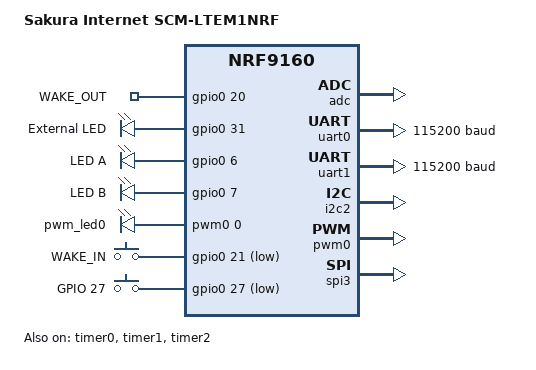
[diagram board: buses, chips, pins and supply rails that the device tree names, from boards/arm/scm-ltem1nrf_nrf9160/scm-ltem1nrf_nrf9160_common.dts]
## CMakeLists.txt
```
#
# Copyright (c) 2020 Nordic Semiconductor
#
# SPDX-License-Identifier: LicenseRef-BSD-5-Clause-Nordic
#

cmake_minimum_required(VERSION 3.13.1)

set(BOARD_ROOT ${CMAKE_SOURCE_DIR})
set(ZEPHYR_EXTRA_MODULES 
    ${CMAKE_SOURCE_DIR}/lib/sipf
)

find_package(Zephyr REQUIRED HINTS $ENV{ZEPHYR_BASE})
project(sipf_lib_sample_app_rx)

target_sources(app PRIVATE
    src/main.c
    src/uart_broker.c
)

target_include_directories(app PRIVATE
    include/
)

if(SIPF_ENVIRONMENT STREQUAL "production")
    message("Set -Werror")
    zephyr_library_compile_options("-Werror")
endif()
if(SIPF_ENVIRONMENT STREQUAL "staging")
    message("Set -Werror")
    zephyr_library_compile_options("-Werror")
endif()
```

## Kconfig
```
#
# Copyright (c) 2021 SAKURA internet Inc.
#
# SPDX-License-Identifier: MIT
#

menu "Zephyr Kernel"
source "Kconfig.zephyr"
endmenu
```

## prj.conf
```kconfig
CONFIG_NEWLIB_LIBC=y
CONFIG_NEWLIB_LIBC_FLOAT_PRINTF=y

CONFIG_NETWORKING=y
CONFIG_NET_SOCKETS=y
CONFIG_NET_SOCKETS_POSIX_NAMES=y
CONFIG_NET_NATIVE=n

CONFIG_HEAP_MEM_POOL_SIZE=4096
CONFIG_MAIN_STACK_SIZE=8192

# Modem
CONFIG_MODEM_KEY_MGMT=y
CONFIG_PDN=y
CONFIG_NRF_MODEM_LIB=y
CONFIG_NRF_MODEM_LIB_SYS_INIT=n

# Modem Info
CONFIG_MODEM_INFO=y

# LTE Link Controll
CONFIG_LTE_LINK_CONTROL=y
CONFIG_LTE_AUTO_INIT_AND_CONNECT=n
CONFIG_LTE_NETWORK_TIMEOUT=60
CONFIG_LTE_NETWORK_USE_FALLBACK=y
CONFIG_LTE_NETWORK_DEFAULT=y
CONFIG_LTE_LOCK_PLMN=y
CONFIG_LTE_LOCK_PLMN_STRING="44020"

# UART
CONFIG_CONSOLE=y
CONFIG_UART_CONSOLE=y
CONFIG_UART_INTERRUPT_DRIVEN=y

# GPIO
CONFIG_GPIO=y

# Reboot
CONFIG_REBOOT=y

# Download client
CONFIG_DOWNLOAD_CLIENT=y
CONFIG_DOWNLOAD_CLIENT_STACK_SIZE=4096
CONFIG_DOWNLOAD_CLIENT_MAX_HOSTNAME_SIZE=255

# HTTP
CONFIG_HTTP_CLIENT=y
CONFIG_BASE64=y

# Logging
CONFIG_LOG=y
CONFIG_LOG_RUNTIME_FILTERING=y
CONFIG_LOG_BUFFER_SIZE=2048
CONFIG_LOG_PRINTK=y
CONFIG_LOG_PROCESS_TRIGGER_THRESHOLD=0
CONFIG_LOG_BACKEND_UART=n
CONFIG_LOG_BACKEND_RTT=y
CONFIG_USE_SEGGER_RTT=y

## SIPF standard client ## 
CONFIG_SIPF=y

## Application Log Levels
CONFIG_SIPF_LOG_LEVEL_DBG=y
#CONFIG_SIPF_LOG_LEVEL_INF=y
#CONFIG_SIPF_LOG_LEVEL_ERR=y
```

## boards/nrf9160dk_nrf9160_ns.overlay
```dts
/ {
	aliases {
		led-boot = &led0;
		led-state = &led1;
		led-out1 = &led2;
		led-out2 = &led3;

		btn-recv = &button0;
	};
};
```

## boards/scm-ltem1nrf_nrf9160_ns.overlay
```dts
/ {
	aliases {
		led-boot = &led2;
		led-state = &led3;
		led-out1 = &led1;
		led-out2 = &led1;

		btn-recv = &button0;
	};
};
```

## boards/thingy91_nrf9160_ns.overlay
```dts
/ {
	aliases {
		led-boot = &sense_blue_led;
		led-state = &sense_green_led;
		led-out1 = &red_led;
		led-out2 = &blue_led;

		btn-recv = &button0;
	};
};
```

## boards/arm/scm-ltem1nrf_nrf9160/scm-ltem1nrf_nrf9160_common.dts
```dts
/*
 * Copyright (c) 2018-2020 Nordic Semiconductor ASA
 *
 * SPDX-License-Identifier: Apache-2.0
 */
#include "scm-ltem1nrf_nrf9160_common-pinctrl.dtsi"

/ {
	model = "Sakura Internet SCM-LTEM1NRF";
	compatible = "nordic,nrf9160-dk-nrf9160";

	chosen {
		zephyr,console = &uart0;
		zephyr,shell-uart = &uart0;
		zephyr,uart-mcumgr = &uart0;
	};

	leds {
		compatible = "gpio-leds";
		led0: led_0 {
			gpios = <&gpio0 20 0>;
			label = "WAKE_OUT";
		};
		led1: led_1 {
			gpios = <&gpio0 31 0>;
			label = "External LED";
		};
		led2: led_2 {
			gpios = <&gpio0 6 0>;
			label = "LED A";
		};
		led3: led_3 {
			gpios = <&gpio0 7 0>;
			label = "LED B";
		};
	};

	pwmleds {
		compatible = "pwm-leds";
		pwm_led0: pwm_led_0 {
			pwms = <&pwm0 0 PWM_MSEC(20) PWM_POLARITY_NORMAL>;
		};
	};

	buttons {
		compatible = "gpio-keys";
		button0: button_0 {
			gpios = <&gpio0 21 (GPIO_PULL_UP | GPIO_ACTIVE_LOW)>;
			label = "WAKE_IN";
		};
		button1: button_1 {
			gpios = <&gpio0 27 (GPIO_PULL_UP | GPIO_ACTIVE_LOW)>;
			label = "GPIO 27";
		};
	};

	/* These aliases are provided for compatibility with samples */
	aliases {
		led0 = &led0;
		led1 = &led1;
		led2 = &led2;
		led3 = &led3;
		pwm-led0 = &pwm_led0;
		sw0 = &button0;
		sw1 = &button1;
		bootloader-led0 = &led0;
		mcuboot-button0 = &button0;
		mcuboot-led0 = &led2;
		watchdog0 = &wdt0;
	};
};

&adc {
	status = "okay";
};

&gpiote {
	status = "okay";
};

&gpio0 {
	status = "okay";
};

&uart0 {
	status = "okay";
	current-speed = <115200>;
	pinctrl-0 = <&uart0_default>;
	pinctrl-1 = <&uart0_sleep>;
	pinctrl-names = "default", "sleep";
};

&uart1 {
	status = "okay";
	current-speed = <115200>;
	pinctrl-0 = <&uart1_default>;
	pinctrl-1 = <&uart1_sleep>;
	pinctrl-names = "default", "sleep";
};

&i2c2 {
	compatible = "nordic,nrf-twim";
	status = "okay";
	pinctrl-0 = <&i2c2_default>;
	pinctrl-1 = <&i2c2_sleep>;
	pinctrl-names = "default", "sleep";
};

&pwm0 {
	status = "okay";
	pinctrl-0 = <&pwm0_default>;
	pinctrl-1 = <&pwm0_sleep>;
	pinctrl-names = "default", "sleep";
};

&spi3 {
	compatible = "nordic,nrf-spim";
	status = "okay";
	cs-gpios = <&gpio0 4 GPIO_ACTIVE_LOW>;
	pinctrl-0 = <&spi3_default>;
	pinctrl-1 = <&spi3_sleep>;
	pinctrl-names = "default", "sleep";
};

&timer0 {
	status = "okay";
};

&timer1 {
	status = "okay";
};

&timer2 {
	status = "okay";
};

&flash0 {

	partitions {
		compatible = "fixed-partitions";
		#address-cells = <1>;
		#size-cells = <1>;

		boot_partition: partition@0 {
			label = "mcuboot";
			reg = <0x00000000 0x10000>;
		};
		slot0_partition: partition@10000 {
			label = "image-0";
		};
		slot0_ns_partition: partition@50000 {
			label = "image-0-nonsecure";
		};
		slot1_partition: partition@80000 {
			label = "image-1";
		};
		slot1_ns_partition: partition@c0000 {
			label = "image-1-nonsecure";
		};
		scratch_partition: partition@f0000 {
			label = "image-scratch";
			reg = <0x000f0000 0xa000>;
		};
		storage_partition: partition@fa000 {
			label = "storage";
			reg = <0x000fa000 0x00006000>;
		};
	};
};

/ {

	reserved-memory {
		#address-cells = <1>;
		#size-cells = <1>;
		ranges;

		sram0_s: image_s@20000000 {
			/* Secure image memory */
		};

		sram0_modem: image_modem@20016000 {
			/* Modem (shared) memory */
		};

		sram0_ns: image_ns@20020000 {
			/* Non-Secure image memory */
		};
	};
};

/* Include partition configuration file */
#include "scm-ltem1nrf_nrf9160_partition_conf.dts"
```

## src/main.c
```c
/*
 * Copyright (c) 2020 Nordic Semiconductor ASA
 *
 * SPDX-License-Identifier: LicenseRef-BSD-5-Clause-Nordic
 */
#include <stdlib.h>
#include <string.h>

#include <zephyr/kernel.h>
#include <zephyr/drivers/gpio.h>
#include <zephyr/logging/log.h>

#include <nrf_modem_at.h>
#include <modem/lte_lc.h>
#include <modem/modem_info.h>
#include <modem/modem_key_mgmt.h>
#include <modem/nrf_modem_lib.h>
#include <modem/pdn.h>
#include <zephyr/net/socket.h>
#include <zephyr/net/tls_credentials.h>

#include "sipf/sipf_client_http.h"
#include "sipf/sipf_auth.h"
#include "uart_broker.h"

#include "version.h"

LOG_MODULE_REGISTER(sipf, CONFIG_SIPF_LOG_LEVEL);

/** peripheral **/
#define LED_HEARTBEAT_MS (500)
static const struct gpio_dt_spec led_boot = GPIO_DT_SPEC_GET(DT_ALIAS(led_boot), gpios);
static const struct gpio_dt_spec led_state = GPIO_DT_SPEC_GET(DT_ALIAS(led_state), gpios);
static const struct gpio_dt_spec led_out1 = GPIO_DT_SPEC_GET(DT_ALIAS(led_out1), gpios);
static const struct gpio_dt_spec led_out2 = GPIO_DT_SPEC_GET(DT_ALIAS(led_out2), gpios);
static const struct gpio_dt_spec btn_recv = GPIO_DT_SPEC_GET(DT_ALIAS(btn_recv), gpios);

/**********/

/** TLS **/
#define TLS_SEC_TAG 42
static const char cert[] = {
#include "sipf/cert/sipf.iot.sakura.ad.jp"
};
BUILD_ASSERT(sizeof(cert) < KB(4), "Certificate too large");
/*********/

static K_SEM_DEFINE(lte_connected, 0, 1);
static K_SEM_DEFINE(reset_request, 0, 1);
static const struct device *uart_dev;

/* Auth info */
#define SZ_USER_NAME (255)
#define SZ_PASSWORD (255)
static char user_name[SZ_USER_NAME];
static char password[SZ_PASSWORD];

/* Initialize AT communications */
int at_comms_init(void)
{
    return 0;
}

static int button_init(void)
{
    if (!device_is_ready(btn_recv.port)) {
        return -ENODEV;
    }
    gpio_pin_configure_dt(&btn_recv, GPIO_INPUT);

    return 0;
}

/** LED **/
static int led_init(void)
{
    if (!device_is_ready(led_boot.port)) {
        return -ENODEV;
    }
    gpio_pin_configure_dt(&led_boot, GPIO_OUTPUT_INACTIVE);

    if (!device_is_ready(led_state.port)) {
        return -ENODEV;
    }
    gpio_pin_configure_dt(&led_state, GPIO_OUTPUT_INACTIVE);

    if (!device_is_ready(led_out1.port)) {
        return -ENODEV;
    }
    gpio_pin_configure_dt(&led_out1, GPIO_OUTPUT_INACTIVE);

    if (!device_is_ready(led_out2.port)) {
        return -ENODEV;
    }
    gpio_pin_configure_dt(&led_out2, GPIO_OUTPUT_INACTIVE);

    return 0;
}
/***********/

/** MODEM **/
#define REGISTER_TIMEOUT_MS (120000)
#define REGISTER_TRY (3)

static int cert_provision(void)
{
    int err;
    bool exists;

    err = modem_key_mgmt_exists(TLS_SEC_TAG, MODEM_KEY_MGMT_CRED_TYPE_CA_CHAIN, &exists);
    if (err) {
        LOG_ERR("Failed to check for certificates err %d", err);
        return err;
    }

    if (exists) {
        /* For the sake of simplicity we delete what is provisioned
         * with our security tag and reprovision our certificate.
         */
        err = modem_key_mgmt_delete(TLS_SEC_TAG, MODEM_KEY_MGMT_CRED_TYPE_CA_CHAIN);
        if (err) {
            LOG_ERR("Failed to delete existing certificate, err %d", err);
        }
    }

    LOG_DBG("Provisioning certificate");

    /*  Provision certificate to the modem */
    err = modem_key_mgmt_write(TLS_SEC_TAG, MODEM_KEY_MGMT_CRED_TYPE_CA_CHAIN, cert, sizeof(cert) - 1);
    if (err) {
        LOG_ERR("Failed to provision certificate, err %d", err);
        return err;
    }

    return 0;
}

static void lte_handler(const struct lte_lc_evt *const evt)
{
    LOG_DBG("evt->type=%d", evt->type);
    switch (evt->type) {
    case LTE_LC_EVT_NW_REG_STATUS:
        LOG_DBG("- evt->nw_reg_status=%d\n", evt->nw_reg_status);
        if (evt->nw_reg_status == LTE_LC_NW_REG_SEARCHING) {
            UartBrokerPrint("SEARCHING\r\n");
            break;
        }
        if ((evt->nw_reg_status == LTE_LC_NW_REG_REGISTERED_HOME) || (evt->nw_reg_status == LTE_LC_NW_REG_REGISTERED_ROAMING)) {
            UartBrokerPrint("REGISTERD\r\n");
            k_sem_give(&lte_connected);
            break;
        }
        break;
    case LTE_LC_EVT_CELL_UPDATE:
        LOG_DBG("- mcc=%d, mnc=%d", evt->cell.mcc, evt->cell.mnc);
        break;
    case LTE_LC_EVT_LTE_MODE_UPDATE:
        LOG_DBG("- evt->lte_mode=%d", evt->lte_mode);
        break;
    case LTE_LC_EVT_MODEM_EVENT:
        LOG_DBG("- evt->modem_evt=%d", evt->modem_evt);
        break;
    default:
        break;
    }
}

static int init_modem_and_lte(void)
{
    int err = 0;

    err = nrf_modem_lib_init(NORMAL_MODE);
    if (err) {
        LOG_ERR("Failed to initialize modem library!");
        return err;
    }

    /* Provision certificates before connecting to the LTE network */
    err = cert_provision();
    if (err) {
        LOG_ERR("Faild to cert_provision(): %d", err);
        return err;
    }

    /* PDN */
    uint8_t cid;
    err = pdn_ctx_create(&cid, NULL);
    if (err != 0) {
        LOG_ERR("Failed to pdn_ctx_create(), err %d", err);
        return err;
    }
    // set APN
    err = pdn_ctx_configure(cid, "sakura", PDN_FAM_IPV4, NULL);
    if (err != 0) {
        LOG_ERR("Failed to pdn_ctx_configure(), err %d", err);
        return err;
    }
    LOG_DBG("Setting APN OK");

    /* CONNECT */
    for (int i = 0; i < REGISTER_TRY; i++) {
        LOG_DBG("Initialize LTE");
        err = lte_lc_init();
        if (err) {
            LOG_ERR("Failed to initializes the modem, err %d", err);
            return err;
        }
        LOG_DBG("Initialize LTE OK");

        lte_lc_modem_events_enable();

        LOG_INF("[%d] Trying to attach to LTE network (TIMEOUT: %d ms)", i, REGISTER_TIMEOUT_MS);
        UartBrokerPrint("Trying to attach to LTE network (TIMEOUT: %d ms)\r\n", REGISTER_TIMEOUT_MS);
        err = lte_lc_connect_async(lte_handler);
        if (err) {
            LOG_ERR("Failed to attatch to the LTE network, err %d", err);
            return err;
        }
        err = k_sem_take(&lte_connected, K_MSEC(REGISTER_TIMEOUT_MS));
        if (err == -EAGAIN) {
            UartBrokerPrint("TIMEOUT\r\n");
            lte_lc_offline();
            lte_lc_deinit();
            continue;
        } else if (err == 0) {
            // connected

            // PSMの設定
            err = lte_lc_psm_req(true);
            if (err) {
                LOG_ERR("PSM request failed, error: %d", err);
            } else {
                LOG_DBG("PSM is enabled");
            }
            return 0;
        } else {
            //
            return err;
        }
    }

    LOG_ERR("Faild to attach to LTE Network");
    return -1;
}
/**********/

uint8_t work_buff[1024];

void main(void)
{
    int err;

    int64_t ms_now, ms_timeout;

    // UartBrokerの初期化(以降、Debug系の出力も可能)
    uart_dev = DEVICE_DT_GET(UART_LABEL);
    UartBrokerInit(uart_dev);
    UartBrokerPrint("*** SIPF SDK Sample for nRFConnect\r\n");

#ifdef CONFIG_LTE_LOCK_PLMN
    UartBrokerPuts("* PLMN: " CONFIG_LTE_LOCK_PLMN_STRING "\r\n");
#endif
#ifdef CONFIG_SIPF_AUTH_DISABLE_SSL
    UartBrokerPuts("* Disable SSL, AUTH endpoint.\r\n");
#endif
#ifdef CONFIG_SIPF_CONNECTOR_DISABLE_SSL
    UartBrokerPuts("* Disable SSL, CONNECTOR endpoint.\r\n");
#endif
    // LEDの初期化
    led_init();
    gpio_pin_set_dt(&led_boot, 1);

    // ボタンの初期化
    if (button_init() != 0) {
        gpio_pin_set_dt(&led_boot,0);
        goto err;
    }

    //モデムの初期化&LTE接続
    err = init_modem_and_lte();
    if (err) {
        goto err;
    }

    // 認証モードをSIM認証にする
    for (;;) {
        UartBrokerPuts("Set AuthMode to `SIM Auth'... \r\n");
        err = SipfAuthRequest(user_name, sizeof(user_name), password, sizeof(user_name));
        LOG_DBG("SipfAuthRequest(): %d", err);
        if (err < 0) {
            // IPアドレス認証に失敗した
            UartBrokerPuts("faild(Retry after 10s)\r\n");
            k_sleep(K_MSEC(10000));
            continue;
        }
        UartBrokerPuts("OK\r\n");
        break;
    }
    err = SipfClientHttpSetAuthInfo(user_name, password);
    if (err < 0) {
        // 認証情報の設定に失敗した
        goto err;
    }

    UartBrokerPuts("+++ Ready +++\r\n");
    gpio_pin_set_dt(&led_state, 1);
    ms_timeout = k_uptime_get() + LED_HEARTBEAT_MS;

    int btn_prev = 0;
    for (;;) {
        // Heart Beat
        ms_now = k_uptime_get();
        if ((ms_timeout - ms_now) < 0) {
            ms_timeout = ms_now + LED_HEARTBEAT_MS;
            gpio_pin_toggle_dt(&led_state);
        }

        int btn_val = gpio_pin_get_dt(&btn_recv);
        if (btn_val < 0) {
            LOG_ERR("button_read() failed.");
        } else {
            if ((btn_prev == 0) && (btn_val == 1)) {
                UartBrokerPuts("Receive Button Pushed\r\n");
                // 受信ボタンが押された
                SipfObjectOtid otid;
                uint8_t remain;
                uint8_t qty;
                uint8_t *p_objs[16], *p_datetime_user_send, *p_datetime_server_recv;

                gpio_pin_set_dt(&led_state, 1);
                for (;;) {
                    int ret = SipfObjClientObjDown(&otid, &remain, &qty, p_objs, &p_datetime_user_send, &p_datetime_server_recv);
                    if (ret == 0) {
                        if (qty == 0) {
                            // 受信するオブジェクトなし
                            UartBrokerPuts("No object to receice.\r\n");
                        } else {
                            // 受信した
                            UartBrokerPrint("Received. qty=%d\r\n", qty);
                            for (int i = 0; i < qty; i++) {
                                if (i >= 16) {
                                    // リストのサイズ上限に達した
                                    break;
                                }
                                SipfObjectObject obj;
                                obj.value = work_buff;
                                if (SipfObjectParse(p_objs[i], 255, &obj) == 0) {
                                    UartBrokerPrint("tag: 0x%02x, type: 0x%02x\r\n", obj.obj_tagid, obj.obj_type);
                                    //tag_id: 0x01ならLED_OUT1の点灯状態を設定する
                                    if (obj.obj_tagid == 0x01) {
                                        if (obj.obj_type == OBJ_TYPE_UINT8) {
                                            if (*obj.value == 0) {
                                                UartBrokerPuts("LED_OUT1: OFF\r\n");
                                                gpio_pin_set_dt(&led_out1, 0);
                                            } else {
                                                UartBrokerPuts("LED_OUT1: ON\r\n");
                                                gpio_pin_set_dt(&led_out1, 1);
                                            }
                                        }
                                    }
                                    //tag_id: 0x02ならLED_OUT2の点灯状態を設定する
                                    if (obj.obj_tagid == 0x02) {
                                        if (obj.obj_type == OBJ_TYPE_UINT8) {
                                            if (*obj.value == 0) {
                                                UartBrokerPuts("LED_OUT2: OFF\r\n");
                                                gpio_pin_set_dt(&led_out2, 0);
                                            } else {
                                                UartBrokerPuts("LED_OUT2: ON\r\n");
                                                gpio_pin_set_dt(&led_out2, 1);
                                            }
                                        }                                    
                                    }
                                } else {
                                    UartBrokerPuts("Object parse failed...\r\n");
                                }
                            }
                        }
                        if (remain == 0) {
                            UartBrokerPuts("Receive finished.\r\n");
                            break;
                        }
                    } else {
                        UartBrokerPrint("Receive failed: 0x%02x\r\n", ret);
                        break;
                    }
                }
                gpio_pin_set_dt(&led_state, 0);
            }
            btn_prev = btn_val;
        }

        k_sleep(K_MSEC(10));
    }
err:
    for (;;) {
        gpio_pin_toggle_dt(&led_boot);
        k_sleep(K_MSEC(100));
    }
}
```

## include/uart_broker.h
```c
/*
 * Copyright (c) 2021 SAKURA internet Inc.
 *
 * SPDX-License-Identifier: MIT
 */
#ifndef _UART_BROKER_H_
#define _UART_BROKER_H_

#include <stdint.h>
#include <stdbool.h>
#include <stdio.h>

#include <zephyr/devicetree.h>
#include <zephyr/drivers/uart.h>

#define UART_LABEL DT_NODELABEL(uart0)

#define UART_TX_BUF_SZ (256)
#define UART_RX_BUF_SZ (256)

int UartBrokerInit(const struct device *uart);
int UartBrokerTerm(void);
bool UartBrokerSetEcho(bool echo);

int UartBrokerPutByte(uint8_t byte);
int UartBrokerPut(uint8_t *data, int len);
int UartBrokerGetByte(uint8_t *byte);
int UartBrokerGetByteTm(uint8_t *byte, int timeout_ms);
int UartBrokerGet(uint8_t *data, int len);

int UartBrokerPuts(const char *msg);

void UartBrokerClearRecveiveQueue(void);

#define UartBrokerPrint(...)                                                                                                                                                                                                                                                                                                                                                                                                                                                                                                                                                                                                                                                                                                                                                                                                                                                                                                                                                                                                           \
    {                                                                                                                                                                                                                                                                                                                                                                                                                                                                                                                                                                                                                                                                                                                                                                                                                                                                                                                                                                                                                                  \
        char msg[140];                                                                                                                                                                                                                                                                                                                                                                                                                                                                                                                                                                                                                                                                                                                                                                                                                                                                                                                                                                                                                 \
        int len = sprintf(msg, __VA_ARGS__);                                                                                                                                                                                                                                                                                                                                                                                                                                                                                                                                                                                                                                                                                                                                                                                                                                                                                                                                                                                           \
        UartBrokerPut((uint8_t *)msg, len);                                                                                                                                                                                                                                                                                                                                                                                                                                                                                                                                                                                                                                                                                                                                                                                                                                                                                                                                                                                            \
    }

#endif
```

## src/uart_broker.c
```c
/*
 * Copyright (c) 2021 SAKURA internet Inc.
 *
 * SPDX-License-Identifier: MIT
 */

#include <stdbool.h>
#include <stdint.h>
#include <string.h>

#include <zephyr/kernel.h>

#include "uart_broker.h"

#define PRIORITY (7)
#define STACK_UB_SZ (1024)

static uint8_t tx_buff[UART_TX_BUF_SZ];
static uint8_t rx_buff[UART_RX_BUF_SZ];

static bool is_echo = true;
K_MUTEX_DEFINE(mutex_is_echo);

static struct k_msgq msgq_tx, msgq_rx;

K_THREAD_STACK_DEFINE(stack_ub, STACK_UB_SZ);
static struct k_thread thread_ub;
static k_tid_t tid_ub;

static void uart_broker_fifo_cb(const struct device *uart, void *user_data)
{
    ARG_UNUSED(user_data);

    if (uart_irq_update(uart) != 1) {
        return;
    }

    if (uart_irq_rx_ready(uart) == 1) {
        bool e;
        uint8_t b;
        uart_fifo_read(uart, &b, 1);
        k_msgq_put(&msgq_rx, &b, K_NO_WAIT);
        // ECHO BACK
        k_mutex_lock(&mutex_is_echo, K_FOREVER);
        e = is_echo;
        k_mutex_unlock(&mutex_is_echo);
        if (e) {
            uart_poll_out(uart, b); // ECHO BACK
        }
    }
}

static void uart_broker_thread(void *dev, void *arg2, void *arg3)
{
    const struct device *uart = (struct device *)dev;
    uint8_t b;

    uart_irq_callback_set(uart, uart_broker_fifo_cb);
    uart_irq_rx_enable(uart);

    for (;;) {
        // TX
        while (k_msgq_get(&msgq_tx, &b, K_USEC(1)) == 0) {
            // 送信キューになにか入ってた
            uart_poll_out(uart, b);
        }
    }
}

/** Interface **/
int UartBrokerPutByte(uint8_t byte)
{
    return k_msgq_put(&msgq_tx, &byte, K_MSEC(10));
}

int UartBrokerPut(uint8_t *data, int len)
{
    int cnt = 0;
    int ret;
    for (int i = 0; i < len; i++) {
        ret = UartBrokerPutByte(data[i]);
        if (ret != 0) {
            break;
        }
        cnt++;
    }
    return cnt;
}

int UartBrokerPuts(const char *msg)
{
    return UartBrokerPut((uint8_t *)msg, strlen(msg));
}

int UartBrokerGetByte(uint8_t *byte)
{
    return k_msgq_get(&msgq_rx, byte, K_MSEC(1));
}

int UartBrokerGetByteTm(uint8_t *byte, int timeout_ms)
{
    return k_msgq_get(&msgq_rx, byte, K_MSEC(timeout_ms));
}

void UartBrokerClearRecveiveQueue(void)
{
    k_msgq_purge(&msgq_rx);
}

int UartBrokerGet(uint8_t *data, int len)
{
    int cnt = 0;
    int ret;
    for (int i = 0; i < len; i++) {
        ret = UartBrokerGetByte(&data[i]);
        if (ret != 0) {
            break;
        }
        cnt++;
    }
    return cnt;
}

int UartBrokerInit(const struct device *uart)
{
    // 送受信キュー作成
    k_msgq_init(&msgq_tx, tx_buff, 1, UART_TX_BUF_SZ);
    k_msgq_init(&msgq_rx, rx_buff, 1, UART_RX_BUF_SZ);

    // スレッド作成
    tid_ub = k_thread_create(&thread_ub, stack_ub, STACK_UB_SZ, uart_broker_thread, (void *)uart, NULL, NULL, PRIORITY, 0, K_NO_WAIT);
    k_thread_name_set(tid_ub, "uart broker");
    k_thread_start(&thread_ub);

    return 0;
}

int UartBrokerTerm(void)
{
    return 0;
}

bool UartBrokerSetEcho(bool echo)
{
    k_mutex_lock(&mutex_is_echo, K_FOREVER);
    is_echo = echo;
    k_mutex_unlock(&mutex_is_echo);
    return echo;
}
```
